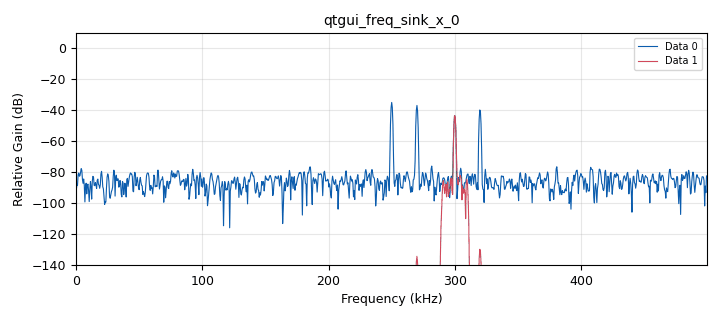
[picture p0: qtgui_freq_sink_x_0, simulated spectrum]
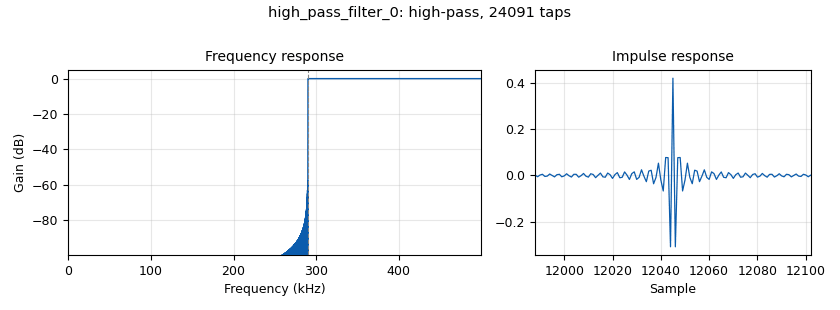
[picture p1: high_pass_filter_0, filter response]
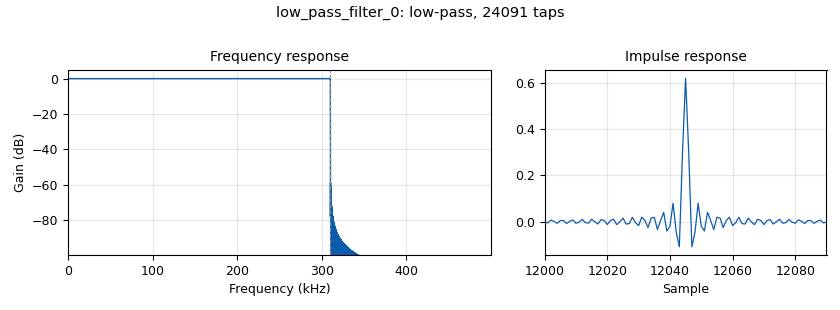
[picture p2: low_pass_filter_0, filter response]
options:
  parameters:
    generate_options: qt_gui
    id: exam
    output_language: python
    title: Not titled yet
  states: {}

blocks:
- name: f_var
  id: variable_qtgui_entry
  parameters:
    type: real
    value: '320000'
  states: {}
- name: hpf_cutoff
  id: variable_qtgui_entry
  parameters:
    type: real
    value: '290000'
  states: {}
- name: lpf_cutoff
  id: variable_qtgui_entry
  parameters:
    type: real
    value: '310000'
  states: {}
- name: lpf_tr_band
  id: variable_qtgui_entry
  parameters:
    type: real
    value: '100'
  states: {}
- name: samp_rate
  id: variable
  parameters:
    value: '1000000'
  states: {}
- name: transition_band
  id: variable_qtgui_entry
  parameters:
    type: real
    value: '100'
  states: {}
- name: analog_noise_source_x_0
  id: analog_noise_source_x
  parameters:
    amp: '0.005'
    noise_type: analog.GR_GAUSSIAN
    seed: '0'
    type: float
  states: {}
- name: analog_sig_source_x_0
  id: analog_sig_source_x
  parameters:
    amp: '0.080'
    freq: '270000'
    offset: '0'
    phase: '0'
    samp_rate: samp_rate
    type: float
    waveform: analog.GR_COS_WAVE
  states: {}
- name: analog_sig_source_x_0_0
  id: analog_sig_source_x
  parameters:
    amp: '0.1'
    freq: '250000'
    offset: '0'
    phase: '0'
    samp_rate: samp_rate
    type: float
    waveform: analog.GR_COS_WAVE
  states: {}
- name: analog_sig_source_x_0_0_0
  id: analog_sig_source_x
  parameters:
    amp: '0.040'
    freq: '300000'
    offset: '0'
    phase: '0'
    samp_rate: samp_rate
    type: float
    waveform: analog.GR_COS_WAVE
  states: {}
- name: analog_sig_source_x_0_0_0_0
  id: analog_sig_source_x
  parameters:
    amp: '0.060'
    freq: f_var
    offset: '0'
    phase: '0'
    samp_rate: samp_rate
    type: float
    waveform: analog.GR_COS_WAVE
  states: {}
- name: blocks_add_xx_0
  id: blocks_add_xx
  parameters:
    num_inputs: '5'
    type: float
  states: {}
- name: high_pass_filter_0
  id: high_pass_filter
  parameters:
    cutoff_freq: '290000'
    decim: '1'
    gain: '1'
    samp_rate: samp_rate
    type: fir_filter_fff
    width: '100'
    win: window.WIN_HAMMING
  states: {}
- name: low_pass_filter_0
  id: low_pass_filter
  parameters:
    cutoff_freq: lpf_cutoff
    decim: '1'
    gain: '1'
    samp_rate: samp_rate
    type: fir_filter_fff
    width: lpf_tr_band
    win: window.WIN_HAMMING
  states: {}
- name: qtgui_freq_sink_x_0
  id: qtgui_freq_sink_x
  parameters:
    bw: samp_rate
    fc: '0'
    fftsize: '2048'
    freqhalf: 'False'
    nconnections: '2'
    type: float
  states: {}

connections:
- [analog_noise_source_x_0, '0', blocks_add_xx_0, '4']
- [analog_sig_source_x_0, '0', blocks_add_xx_0, '1']
- [analog_sig_source_x_0_0, '0', blocks_add_xx_0, '0']
- [analog_sig_source_x_0_0_0, '0', blocks_add_xx_0, '2']
- [analog_sig_source_x_0_0_0_0, '0', blocks_add_xx_0, '3']
- [blocks_add_xx_0, '0', low_pass_filter_0, '0']
- [blocks_add_xx_0, '0', qtgui_freq_sink_x_0, '0']
- [high_pass_filter_0, '0', qtgui_freq_sink_x_0, '1']
- [low_pass_filter_0, '0', high_pass_filter_0, '0']

metadata:
  file_format: 1
  grc_version: 3.10.12.0
